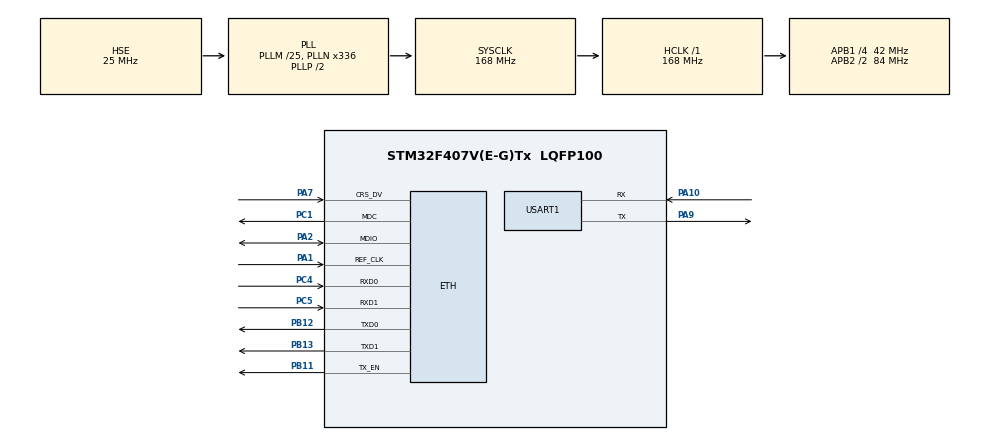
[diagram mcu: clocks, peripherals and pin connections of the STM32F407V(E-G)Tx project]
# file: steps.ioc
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ETH.MediaInterface=ETH_MEDIA_INTERFACE_RMII
ETH.PHY_Name_RMII=DP83848_PHY_ADDRESS
ETH.PhyAddress=1
ETH.RxMode=ETH_RXINTERRUPT_MODE
FREERTOS.HEAP_NUMBER=2
FREERTOS.INCLUDE_pcTaskGetTaskName=1
FREERTOS.INCLUDE_vTaskCleanUpResources=1
FREERTOS.INCLUDE_xEventGroupSetBitFromISR=1
FREERTOS.INCLUDE_xSemaphoreGetMutexHolder=1
FREERTOS.INCLUDE_xTaskAbortDelay=1
FREERTOS.INCLUDE_xTaskGetCurrentTaskHandle=1
FREERTOS.INCLUDE_xTaskGetHandle=1
FREERTOS.Tasks01=defaultTask,24,512,StartDefaultTask,Default,NULL,Dynamic,NULL,NULL
FREERTOS.configCHECK_FOR_STACK_OVERFLOW=2
FREERTOS.configENABLE_BACKWARD_COMPATIBILITY=0
FREERTOS.configMINIMAL_STACK_SIZE=512
FREERTOS.configTICK_RATE_HZ=100
FREERTOS.configTIMER_TASK_STACK_DEPTH=512
FREERTOS.configTOTAL_HEAP_SIZE=61440
FREERTOS.configUSE_MALLOC_FAILED_HOOK=1
FREERTOS.configUSE_STATS_FORMATTING_FUNCTIONS=1
LWIP.ARP_MAXAGE=3000
LWIP.ARP_TABLE_SIZE=8
LWIP.GATEWAY_ADDRESS=192.168.001.001
LWIP.IP_ADDRESS=192.168.001.133
LWIP.LWIP_DHCP=0
LWIP.MEMP_NUM_TCP_PCB=4
LWIP.MEMP_NUM_TCP_PCB_LISTEN=4
LWIP.MEM_SIZE=4096
LWIP.NETMASK_ADDRESS=255.255.255.000
LWIP.RECV_BUFSIZE_DEFAULT=1024
LWIP.Version=v2.0.3_Cube
Mcu.Family=STM32F4
Mcu.Name=STM32F407V(E-G)Tx
Mcu.Package=LQFP100
NVIC.ETH_IRQn=true\:5\:0\:false\:false\:true\:true\:false\:true
NVIC.PriorityGroup=NVIC_PRIORITYGROUP_4
NVIC.TIM1_UP_TIM10_IRQn=true\:0\:0\:false\:false\:true\:false\:false\:true
NVIC.TimeBase=TIM1_UP_TIM10_IRQn
NVIC.TimeBaseIP=TIM1
NVIC.USART1_IRQn=true\:5\:0\:false\:false\:true\:true\:true\:true
PA1.Mode=RMII
PA1.Signal=ETH_REF_CLK
PA10.Mode=Asynchronous
PA10.Signal=USART1_RX
PA13.Mode=JTAG_5_pins
PA13.Signal=SYS_JTMS-SWDIO
PA14.Mode=JTAG_5_pins
PA14.Signal=SYS_JTCK-SWCLK
PA15.Mode=JTAG_5_pins
PA15.Signal=SYS_JTDI
PA2.Mode=RMII
PA2.Signal=ETH_MDIO
PA7.Mode=RMII
PA7.Signal=ETH_CRS_DV
PA9.Mode=Asynchronous
PA9.Signal=USART1_TX
PB11.Mode=RMII
PB11.Signal=ETH_TX_EN
PB12.Mode=RMII
PB12.Signal=ETH_TXD0
PB13.Mode=RMII
PB13.Signal=ETH_TXD1
PB3.Mode=JTAG_5_pins
PB3.Signal=SYS_JTDO-SWO
PB4.Mode=JTAG_5_pins
PB4.Signal=SYS_JTRST
PC1.Mode=RMII
PC1.Signal=ETH_MDC
PC14-OSC32_IN.Mode=LSE-External-Oscillator
PC14-OSC32_IN.Signal=RCC_OSC32_IN
PC15-OSC32_OUT.Mode=LSE-External-Oscillator
PC15-OSC32_OUT.Signal=RCC_OSC32_OUT
PC4.Mode=RMII
PC4.Signal=ETH_RXD0
PC5.Mode=RMII
PC5.Signal=ETH_RXD1
PH0-OSC_IN.Mode=HSE-External-Oscillator
PH0-OSC_IN.Signal=RCC_OSC_IN
PH1-OSC_OUT.Mode=HSE-External-Oscillator
PH1-OSC_OUT.Signal=RCC_OSC_OUT
ProjectManager.HeapSize=0x200
ProjectManager.StackSize=0x400
ProjectManager.TargetToolchain=MDK-ARM V5
RCC.48MHZClocksFreq_Value=84000000
RCC.AHBFreq_Value=168000000
RCC.APB1CLKDivider=RCC_HCLK_DIV4
RCC.APB1Freq_Value=42000000
RCC.APB1TimFreq_Value=84000000
RCC.APB2CLKDivider=RCC_HCLK_DIV2
RCC.APB2Freq_Value=84000000
RCC.APB2TimFreq_Value=168000000
RCC.CortexFreq_Value=168000000
RCC.HCLKFreq_Value=168000000
RCC.HSE_VALUE=25000000
RCC.HSI_VALUE=16000000
RCC.PLLM=25
RCC.PLLN=336
RCC.PLLSourceVirtual=RCC_PLLSOURCE_HSE
RCC.SYSCLKFreq_VALUE=168000000
RCC.SYSCLKSource=RCC_SYSCLKSOURCE_PLLCLK
RCC.VCOOutputFreq_Value=336000000
USART1.VirtualMode=VM_ASYNC
VP_FREERTOS_VS_CMSIS_V2.Mode=CMSIS_V2
VP_LWIP_VS_Enabled.Mode=Enabled
VP_SYS_VS_tim1.Mode=TIM1
board=custom

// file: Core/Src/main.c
/* USER CODE BEGIN Header */
/**
  ******************************************************************************
  * @file           : main.c
  * @brief          : Main program body
  ******************************************************************************
  * @attention
  *
  * <h2><center>&copy; Copyright (c) 2020 STMicroelectronics.
  * All rights reserved.</center></h2>
  *
  * This software component is licensed by ST under BSD 3-Clause license,
  * the "License"; You may not use this file except in compliance with the
  * License. You may obtain a copy of the License at:
  *                        opensource.org/licenses/BSD-3-Clause
  *
  ******************************************************************************
  */
/* USER CODE END Header */

#include "main.h"
#include "cmsis_os.h"
#include "lwip.h"
#include "usart.h"
#include "gpio.h"

void SystemClock_Config(void);
void MX_FREERTOS_Init(void);

int main(void)
{

  /* MCU Configuration--------------------------------------------------------*/

  /* Reset of all peripherals, Initializes the Flash interface and the Systick. */
  HAL_Init();

  /* Configure the system clock */
  SystemClock_Config();

  /* Initialize all configured peripherals */
  MX_GPIO_Init();
  MX_USART1_UART_Init();
  MX_LWIP_Init();
  /* Init scheduler */
  osKernelInitialize();

  /* Call init function for freertos objects (in freertos.c) */
  MX_FREERTOS_Init();
  MX_UART1_mutex_init();
  /* Start scheduler */
  osKernelStart();

  /* We should never get here as control is now taken by the scheduler */

  /* Infinite loop */
  while (1)
  {

  }
}

void SystemClock_Config(void)
{
  RCC_OscInitTypeDef RCC_OscInitStruct = {0};
  RCC_ClkInitTypeDef RCC_ClkInitStruct = {0};

  /** Configure the main internal regulator output voltage
  */
  __HAL_RCC_PWR_CLK_ENABLE();
  __HAL_PWR_VOLTAGESCALING_CONFIG(PWR_REGULATOR_VOLTAGE_SCALE1);
  /** Initializes the CPU, AHB and APB busses clocks
  */
  RCC_OscInitStruct.OscillatorType = RCC_OSCILLATORTYPE_HSE;
  RCC_OscInitStruct.HSEState = RCC_HSE_ON;
  RCC_OscInitStruct.PLL.PLLState = RCC_PLL_ON;
  RCC_OscInitStruct.PLL.PLLSource = RCC_PLLSOURCE_HSE;
  RCC_OscInitStruct.PLL.PLLM = 25;
  RCC_OscInitStruct.PLL.PLLN = 336;
  RCC_OscInitStruct.PLL.PLLP = RCC_PLLP_DIV2;
  RCC_OscInitStruct.PLL.PLLQ = 4;
  if (HAL_RCC_OscConfig(&RCC_OscInitStruct) != HAL_OK)
  {
    Error_Handler();
  }
  /** Initializes the CPU, AHB and APB busses clocks
  */
  RCC_ClkInitStruct.ClockType = RCC_CLOCKTYPE_HCLK|RCC_CLOCKTYPE_SYSCLK
                              |RCC_CLOCKTYPE_PCLK1|RCC_CLOCKTYPE_PCLK2;
  RCC_ClkInitStruct.SYSCLKSource = RCC_SYSCLKSOURCE_PLLCLK;
  RCC_ClkInitStruct.AHBCLKDivider = RCC_SYSCLK_DIV1;
  RCC_ClkInitStruct.APB1CLKDivider = RCC_HCLK_DIV4;
  RCC_ClkInitStruct.APB2CLKDivider = RCC_HCLK_DIV2;

  if (HAL_RCC_ClockConfig(&RCC_ClkInitStruct, FLASH_LATENCY_5) != HAL_OK)
  {
    Error_Handler();
  }
}

void HAL_TIM_PeriodElapsedCallback(TIM_HandleTypeDef *htim)
{
  if (htim->Instance == TIM1) {
    HAL_IncTick();
  }
}

void Error_Handler(void)
{
}

/************************ (C) COPYRIGHT STMicroelectronics *****END OF FILE****/

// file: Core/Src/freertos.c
/* USER CODE BEGIN Header */
/**
  ******************************************************************************
  * File Name          : freertos.c
  * Description        : Code for freertos applications
  ******************************************************************************
  * @attention
  *
  * <h2><center>&copy; Copyright (c) 2020 STMicroelectronics.
  * All rights reserved.</center></h2>
  *
  * This software component is licensed by ST under Ultimate Liberty license
  * SLA0044, the "License"; You may not use this file except in compliance with
  * the License. You may obtain a copy of the License at:
  *                             www.st.com/SLA0044
  *
  ******************************************************************************
  */
/* USER CODE END Header */

#include "FreeRTOS.h"
#include "task.h"
#include "main.h"
#include "cmsis_os.h"

/* USER CODE BEGIN Includes */
#include "cmsis_os2.h"
#include "usart.h"

#include "tcp_server.h"

/* USER CODE END Includes */

/* Definitions for defaultTask */
osThreadId_t defaultTaskHandle;
const osThreadAttr_t defaultTask_attributes = {
  .name = "defaultTask",
  .priority = (osPriority_t) osPriorityNormal,
  .stack_size = 1024
};

void StartDefaultTask(void *argument);

extern void MX_LWIP_Init(void);
void MX_FREERTOS_Init(void); /* (MISRA C 2004 rule 8.1) */

/* Hook prototypes */
void vApplicationStackOverflowHook(TaskHandle_t xTask, signed char *pcTaskName);
void vApplicationMallocFailedHook(void);

/* USER CODE BEGIN 4 */
void vApplicationStackOverflowHook(TaskHandle_t xTask, signed char *pcTaskName)
{
   /* Run time stack overflow checking is performed if
   configCHECK_FOR_STACK_OVERFLOW is defined to 1 or 2. This hook function is
   called if a stack overflow is detected. */
}
/* USER CODE END 4 */

/* USER CODE BEGIN 5 */
void vApplicationMallocFailedHook(void)
{
   /* vApplicationMallocFailedHook() will only be called if
   configUSE_MALLOC_FAILED_HOOK is set to 1 in FreeRTOSConfig.h. It is a hook
   function that will get called if a call to pvPortMalloc() fails.
   pvPortMalloc() is called internally by the kernel whenever a task, queue,
   timer or semaphore is created. It is also called by various parts of the
   demo application. If heap_1.c or heap_2.c are used, then the size of the
   heap available to pvPortMalloc() is defined by configTOTAL_HEAP_SIZE in
   FreeRTOSConfig.h, and the xPortGetFreeHeapSize() API function can be used
   to query the size of free heap space that remains (although it does not
   provide information on how the remaining heap might be fragmented). */
}
/* USER CODE END 5 */

void MX_FREERTOS_Init(void) {

  /* Create the thread(s) */
  /* creation of defaultTask */
  defaultTaskHandle = osThreadNew(StartDefaultTask, NULL, &defaultTask_attributes);

}

/* USER CODE BEGIN Header_StartDefaultTask */
/**
  * @brief  Function implementing the defaultTask thread.
  * @param  argument: Not used
  * @retval None
  */
char one_line[1024];
/* USER CODE END Header_StartDefaultTask */
void StartDefaultTask(void *argument)
{
  /* USER CODE BEGIN StartDefaultTask */

    // 启动网络服务器。
    tcp_server_init();
  /* Infinite loop */
  char * hello = "input cmd:\r\n";
  uint8_t recv_buf[10];

  for(;;)
  {
    //MX_USART1_Send((uint8_t*)hello, sizeof(hello));
    //osDelay(100);
    MX_USART1_Send((uint8_t*)hello,  14);
    int ii = 0;
    memset(one_line,0,256);
    do{
        MX_USART1_Recv(&recv_buf[0],1);
        MX_USART1_Send(&recv_buf[0],1);
        one_line[ii] = recv_buf[0];
        ++ii;
        if(ii == 256){
            break;
        }
    }while(recv_buf[0] != '\n' && recv_buf[0] != '\r');
    // putty 只发送\r ，有些发送\r\n 有些只发�? \n�?
    if(recv_buf[0] == '\r'){
        char * tmp = "\n";
        MX_USART1_Send((uint8_t*)tmp,1);
        one_line[ii] = '\n';
    }
    if(strcmp(one_line,"tasklist\r\n") == 0){
        memset(one_line,0,1024);
        vTaskList((char *) one_line);
        MX_USART1_Send(&one_line[0],strlen(one_line));
        memset(one_line,0,1024);
    }
    // todo: post one_line to app level.
  }
  /* USER CODE END StartDefaultTask */
}

/************************ (C) COPYRIGHT STMicroelectronics *****END OF FILE****/
